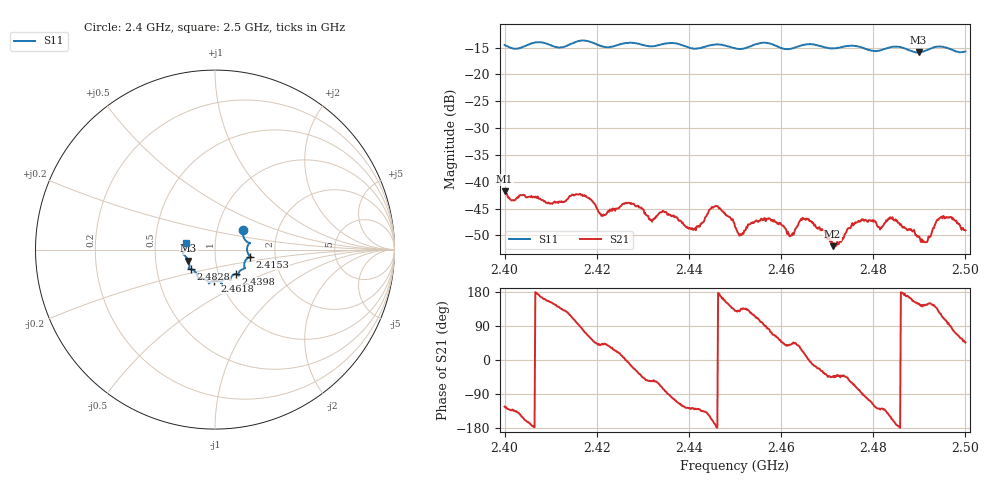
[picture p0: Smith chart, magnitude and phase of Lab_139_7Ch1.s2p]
# Hz S RI R 50
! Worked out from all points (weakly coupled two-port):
!   601 points, 2.4 GHz to 2.5 GHz, reference 50 ohm
!   highest |S21| = -41.78 dB at 2.4 GHz (marker M1); lowest = -52.0 dB at 2.4712 GHz (marker M2)
!   lowest |S11| = -15.9 dB at 2.4898 GHz (marker M3), VSWR 1.38, Z = 36.9 - j4.6 ohm
!   |S11| at or under -10 dB: start of sweep to end of sweep
!   S12 and S22 are empty: the file has one direction only
!   S11 on the Smith chart (normalised r, x): 2.4 GHz: 1.33, +0.29; 2.4153 GHz: 1.48, -0.12; 2.4398 GHz: 1.21, -0.34; 2.4618 GHz: 0.94, -0.33; 2.4828 GHz: 0.74, -0.17; 2.5 GHz: 0.72, +0.06
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2.4e9  0.155 0.1065  -0.00444 -0.00683  0 0  0 0
2.409833e9  0.1862 0.0286  -0.00556 0.00286  0 0  0 0
2.415333e9  0.1965 -0.0387  -0.00167 0.00736  0 0  0 0
2.416667e9  0.2027 -0.0427  0.000698 0.00743  0 0  0 0
2.421333e9  0.1725 -0.0564  0.00362 0.00314  0 0  0 0
2.426667e9  0.1682 -0.1025  0.00632 -0.000545  0 0  0 0
2.433333e9  0.1307 -0.1337  0.00235 -0.00435  0 0  0 0
2.439833e9  0.1156 -0.1362  -0.00219 -0.00296  0 0  0 0
2.445833e9  0.0847 -0.1704  -0.00591 -0.00071  0 0  0 0
2.45e9  0.0654 -0.1624  -0.00244 0.00293  0 0  0 0
2.451333e9  0.0505 -0.1652  -0.00227 0.00223  0 0  0 0
2.457333e9  0.0391 -0.1914  0.000653 0.00453  0 0  0 0
2.461833e9  -0.00296 -0.1725  0.00235 0.00202  0 0  0 0
2.466667e9  -0.0343 -0.1881  0.00409 -0.000713  0 0  0 0
2.471167e9  -0.0601 -0.1641  0.00179 -0.00176  0 0  0 0
2.477333e9  -0.0968 -0.151  0.000365 -0.0043  0 0  0 0
2.482833e9  -0.1364 -0.1091  -0.00313 -0.00305  0 0  0 0
2.483333e9  -0.1402 -0.1088  -0.00369 -0.00268  0 0  0 0
2.489833e9  -0.1481 -0.0609  -0.0026 0.00164  0 0  0 0
2.491667e9  -0.1643 -0.0375  -0.00225 0.00156  0 0  0 0
2.494833e9  -0.1803 -0.0202  -0.0021 0.00419  0 0  0 0
2.5e9  -0.1593 0.0386  0.00243 0.00254  0 0  0 0
